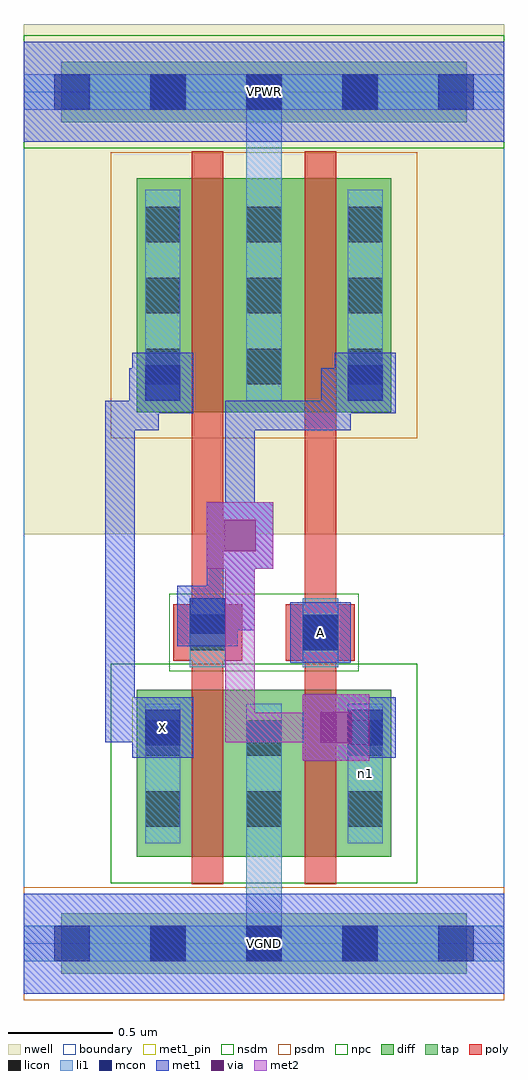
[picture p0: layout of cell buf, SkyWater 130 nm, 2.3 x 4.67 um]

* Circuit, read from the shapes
.subckt buf A VGND VPWR X n1
XM1 VGND n1 X VGND sky130_fd_pr__nfet_01v8 w=0.8 l=0.15
XM2 n1 A VGND VGND sky130_fd_pr__nfet_01v8 w=0.8 l=0.15
XM3 VPWR n1 X VPWR sky130_fd_pr__pfet_01v8 w=1.12 l=0.15
XM4 n1 A VPWR VPWR sky130_fd_pr__pfet_01v8 w=1.12 l=0.15
.ends

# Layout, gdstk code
import gdstk
lib = gdstk.Library(unit=1e-6, precision=1e-09)
def R(c, l, rs):  # rectangles x0, y0, x1, y1
    for r in rs: c.add(gdstk.rectangle(r[:2], r[2:], *l))
def A(c, l, x, y, w, h, nx, ny, dx, dy):  # array of equal rectangles
    R(c, l, [(x+i*dx, y+j*dy, x+i*dx+w, y+j*dy+h) for i in range(nx) for j in range(ny)])
nwell = (64, 20)
diff = (65, 20)
tap = (65, 44)
poly = (66, 20)
licon = (66, 44)
li1 = (67, 20)
mcon = (67, 44)
met1_pin = (68, 16)
met1 = (68, 20)
via = (68, 44)
met2 = (69, 20)
nsdm = (93, 44)
psdm = (94, 20)
npc = (95, 20)
boundary = (235, 4)

buf = lib.new_cell('buf')
R(buf, nwell, [(0,1.96,2.3,4.405)])
R(buf, diff, [(0.54,0.415,1.76,1.215), (0.54,2.545,1.76,3.665)])
R(buf, tap, [(0.18,-0.145,2.12,0.145), (0.18,3.935,2.12,4.225)])
R(buf, poly, [(0.805,0.285,0.955,3.795), (1.345,0.285,1.495,3.795), (0.715,1.355,1.045,1.625), (1.255,1.355,1.585,1.625)])
A(buf, licon, 0.605, -0.085, 0.17, 0.17, 3, 2, 0.46, 4.08)
A(buf, licon, 0.58, 0.56, 0.17, 0.17, 3, 2, 0.485, 0.34)
A(buf, licon, 0.58, 2.68, 0.17, 0.17, 3, 3, 0.485, 0.34)
R(buf, licon, [(0.795,1.405,0.965,1.575), (1.335,1.405,1.505,1.575)])
A(buf, li1, 0.58, 0.48, 0.17, 0.67, 3, 1, 0.485, 0)
A(buf, li1, 0.58, 2.6, 0.17, 1.01, 3, 1, 0.485, 0)
R(buf, li1, [(0,-0.085,2.3,0.085), (1.065,-0.085,1.235,1.15), (0.795,1.325,0.965,1.655), (1.335,1.325,1.505,1.655), (1.065,2.6,1.235,4.165), (0,3.995,2.3,4.165)])
A(buf, mcon, 0.145, -0.085, 0.17, 0.17, 5, 2, 0.46, 4.08)
R(buf, mcon, [(0.58,0.95,0.75,1.12), (1.55,0.95,1.72,1.12), (1.335,1.405,1.505,1.575), (0.795,1.485,0.965,1.655), (0.58,2.6,0.75,2.77), (1.55,2.6,1.72,2.77)])
R(buf, met1_pin, [(0,-0.24,2.3,0.24), (0.52,0.89,0.81,1.18), (1.275,1.345,1.565,1.635), (0,3.84,2.3,4.32)])
R(buf, met1, [(0,-0.24,2.3,0.24), (1.335,0.875,1.655,1.195), (0.52,0.89,0.81,1.18), (1.49,0.89,1.78,1.18), (0.39,0.965,0.645,1.105), (0.39,0.965,0.53,2.6), (0.505,0.965,0.735,1.105), (1.425,0.965,1.705,1.105), (1.275,1.345,1.565,1.635), (0.735,1.425,1.025,1.715), (0.81,1.5,1.105,1.64), (0.965,1.5,1.105,1.795), (0.965,1.655,1.105,2.6), (0.875,1.715,1.025,1.795), (0.875,1.795,1.195,2.115), (0.39,2.46,0.645,2.6), (0.505,2.46,0.645,2.755), (0.965,2.46,1.565,2.6), (1.425,2.46,1.565,2.755), (0.52,2.54,0.81,2.83), (1.49,2.54,1.78,2.83), (0.505,2.615,0.735,2.755), (1.425,2.615,1.705,2.755), (0,3.84,2.3,4.32)])
R(buf, via, [(1.42,0.96,1.57,1.11), (0.96,1.88,1.11,2.03)])
R(buf, met2, [(1.335,0.875,1.655,1.195), (0.965,0.965,1.105,2.025), (0.965,0.965,1.565,1.105), (0.875,1.795,1.195,2.115)])
R(buf, nsdm, [(0.415,0.29,1.885,1.34), (0,3.81,2.3,4.35)])
R(buf, psdm, [(0,-0.27,2.3,0.27), (0.415,2.42,1.885,3.79)])
R(buf, npc, [(0.695,1.305,1.605,1.675)])
R(buf, boundary, [(0,0,2.3,4.08)])
buf.add(gdstk.Label('n1', (1.635,0.815), layer=67, texttype=5))
buf.add(gdstk.Label('A', (1.42,1.49), layer=68, texttype=5))
buf.add(gdstk.Label('X', (0.665,1.035), layer=68, texttype=5))
buf.add(gdstk.Label('VPWR', (1.15,4.08), layer=68, texttype=5))
buf.add(gdstk.Label('VGND', (1.15,0), layer=68, texttype=5))
buf.add(gdstk.Label('A', (1.42,1.49), layer=68, texttype=16))
buf.add(gdstk.Label('X', (0.665,1.035), layer=68, texttype=16))
buf.add(gdstk.Label('VPWR', (1.15,4.08), layer=68, texttype=16))
buf.add(gdstk.Label('VGND', (1.15,0), layer=68, texttype=16))

lib.write_gds('buf.gds')
